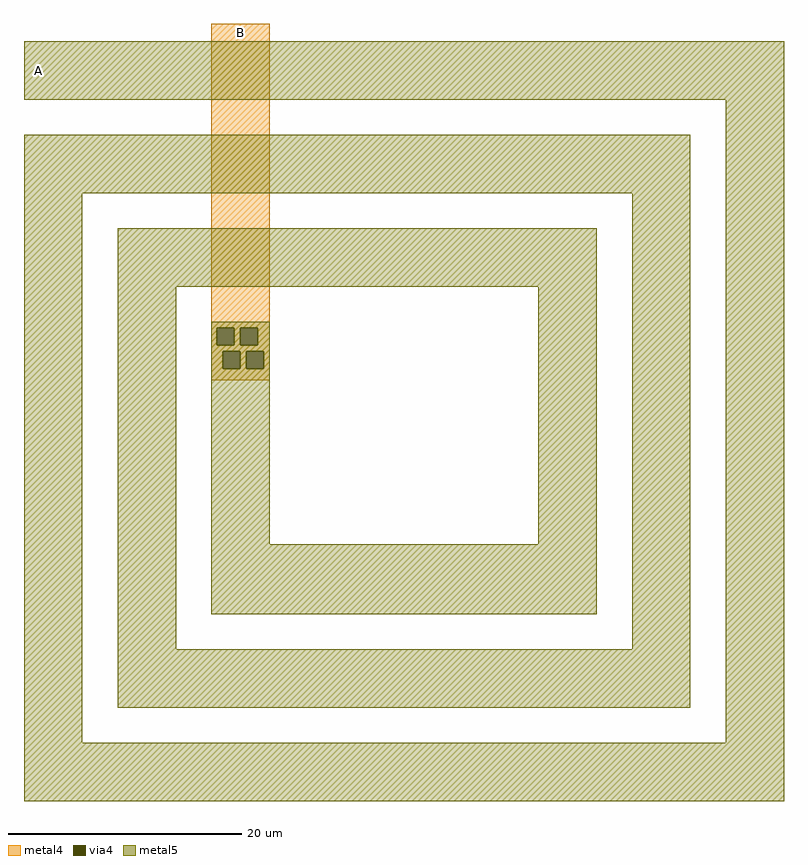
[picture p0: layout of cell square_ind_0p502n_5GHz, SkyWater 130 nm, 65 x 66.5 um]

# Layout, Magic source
magic
tech sky130B
<< metal4 >>
rect 1700 -2750 2200 -150
rect 1700 -2900 1750 -2750
rect 1900 -2900 1950 -2750
rect 2100 -2900 2200 -2750
rect 1700 -2950 2200 -2900
rect 1700 -3100 1800 -2950
rect 1950 -3100 2000 -2950
rect 2150 -3100 2200 -2950
rect 1700 -3200 2200 -3100
<< via4 >>
rect 1750 -2900 1900 -2750
rect 1950 -2900 2100 -2750
rect 1800 -3100 1950 -2950
rect 2000 -3100 2150 -2950
<< metal5 >>
rect 100 -800 6600 -300
rect 100 -1600 5800 -1100
rect 100 -6300 600 -1600
rect 900 -2400 5000 -1900
rect 900 -5500 1400 -2400
rect 1700 -2750 2200 -2700
rect 1700 -2900 1750 -2750
rect 1900 -2900 1950 -2750
rect 2100 -2900 2200 -2750
rect 1700 -2950 2200 -2900
rect 1700 -3100 1800 -2950
rect 1950 -3100 2000 -2950
rect 2150 -3100 2200 -2950
rect 1700 -4600 2200 -3100
rect 4500 -4600 5000 -2400
rect 1700 -5200 5000 -4600
rect 5300 -5500 5800 -1600
rect 900 -6000 5800 -5500
rect 6100 -6300 6600 -800
rect 100 -6800 6600 -6300
<< labels >>
rlabel metal4 1700 -300 2200 -150 1 B
rlabel metal5 100 -800 350 -300 1 A
<< end >>
